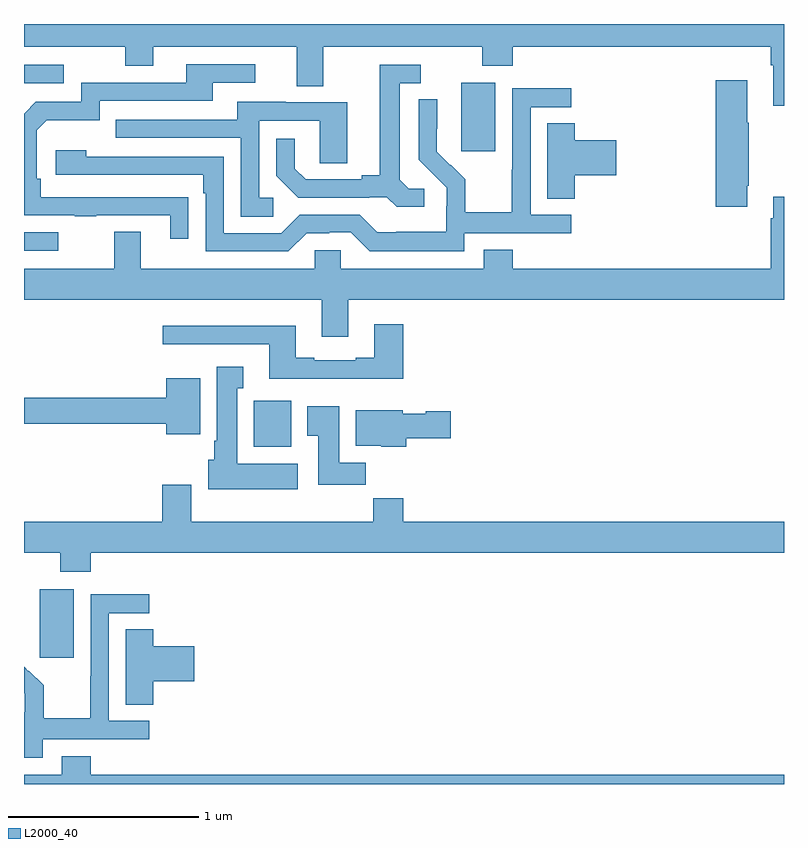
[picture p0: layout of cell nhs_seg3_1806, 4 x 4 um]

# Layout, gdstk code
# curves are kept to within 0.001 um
import gdstk
lib = gdstk.Library(unit=1e-6, precision=1e-09)
def R(c, l, rs):  # rectangles x0, y0, x1, y1
    for r in rs: c.add(gdstk.rectangle(r[:2], r[2:], *l))
def P(c, l, *ps):  # polygons
    for p in ps: c.add(gdstk.Polygon(p, *l))
L2000_40 = (2000, 40)

nhs_seg3_1806 = lib.new_cell('nhs_seg3_1806')
R(nhs_seg3_1806, L2000_40, [(205.082,667.065,205.261,667.426), (206.21,668.174,206.407,668.416), (205,669.207,205.18,669.303), (207.302,669.729,207.481,670.09), (205,670.089,205.21,670.185)])
P(nhs_seg3_1806, L2000_40, [(209,670.4),(205,670.4),(205,670.28),(205.534,670.28),(205.534,670.181),(205.681,670.181),(205.681,670.28),(206.435,670.28),(206.435,670.072),(206.575,670.072),(206.575,670.28),(207.412,670.28),(207.412,670.181),(207.572,670.181),(207.572,670.28),(208.931,670.28),(208.931,670.184),(208.943,670.184),(208.943,669.969),(209,669.969)],
  [(205.865,669.488),(205.088,669.489),(205.088,669.586),(205.068,669.586),(205.068,669.84),(205.121,669.893),(205.398,669.893),(205.398,669.996),(205.993,669.996),(205.993,670.092),(206.218,670.092),(206.218,670.188),(205.853,670.188),(205.853,670.092),(205.302,670.092),(205.302,669.99),(205.062,669.99),(205,669.928),(205,669.393),(205.267,669.393),(205.267,669.388),(205.379,669.388),(205.379,669.393),(205.769,669.393),(205.769,669.27),(205.865,669.27)],
  [(207.106,669.534),(207.024,669.534),(206.977,669.581),(206.977,670.089),(207.088,670.089),(207.088,670.185),(206.873,670.185),(206.873,669.605),(206.777,669.605),(206.777,669.582),(206.482,669.582),(206.425,669.639),(206.425,669.796),(206.328,669.796),(206.328,669.602),(206.444,669.486),(206.816,669.486),(206.816,669.489),(206.91,669.489),(206.962,669.437),(207.106,669.437)],
  [(208.807,669.55),(208.815,669.55),(208.815,669.881),(208.807,669.881),(208.807,670.105),(208.64,670.105),(208.64,669.438),(208.807,669.438)],
  [(207.318,669.3),(207.88,669.3),(207.88,669.396),(207.666,669.396),(207.666,669.963),(207.88,669.963),(207.88,670.062),(207.57,670.062),(207.57,669.632),(207.568,669.632),(207.568,669.409),(207.323,669.409),(207.323,669.583),(207.246,669.66),(207.243,669.657),(207.173,669.728),(207.174,670.004),(207.078,670.004),(207.078,669.686),(207.224,669.538),(207.224,669.441),(207.222,669.441),(207.222,669.307),(206.959,669.307),(206.959,669.303),(206.859,669.303),(206.766,669.396),(206.451,669.396),(206.355,669.3),(206.052,669.3),(206.052,669.702),(205.328,669.702),(205.328,669.736),(205.167,669.736),(205.167,669.606),(205.943,669.606),(205.943,669.509),(205.956,669.509),(205.956,669.204),(206.391,669.204),(206.487,669.3),(206.606,669.3),(206.606,669.303),(206.721,669.303),(206.821,669.203),(207.318,669.203)],
  [(206.311,669.486),(206.238,669.486),(206.238,669.891),(206.556,669.891),(206.556,669.667),(206.701,669.667),(206.701,669.987),(206.377,669.987),(206.377,669.991),(206.123,669.991),(206.123,669.897),(205.483,669.897),(205.483,669.801),(206.142,669.801),(206.142,669.385),(206.311,669.385)],
  [(207.899,669.605),(208.117,669.605),(208.117,669.788),(207.899,669.788),(207.899,669.878),(207.755,669.878),(207.755,669.481),(207.899,669.481)],
  [(206.707,668.948),(209,668.948),(209,669.49),(208.943,669.49),(208.943,669.377),(208.931,669.377),(208.931,669.112),(207.572,669.112),(207.572,669.211),(207.419,669.211),(207.419,669.112),(206.667,669.112),(206.667,669.21),(206.529,669.21),(206.529,669.112),(205.615,669.112),(205.615,669.307),(205.475,669.307),(205.475,669.112),(205,669.112),(205,668.948),(206.567,668.948),(206.567,668.754),(206.707,668.754)],
  [(206.996,668.821),(206.843,668.821),(206.843,668.644),(206.747,668.644),(206.747,668.631),(206.527,668.631),(206.527,668.644),(206.431,668.644),(206.431,668.812),(205.731,668.812),(205.731,668.715),(206.291,668.715),(206.291,668.534),(206.996,668.534)],
  [(206.44,668.086),(206.122,668.086),(206.122,668.483),(206.155,668.483),(206.155,668.596),(206.015,668.596),(206.015,668.206),(206,668.206),(206,668.106),(205.97,668.106),(205.97,667.952),(206.44,667.952)],
  [(205.927,668.536),(205.748,668.536),(205.748,668.432),(205,668.432),(205,668.296),(205.748,668.296),(205.748,668.24),(205.927,668.24)],
  [(206.798,668.092),(206.659,668.092),(206.659,668.389),(206.492,668.389),(206.492,668.233),(206.549,668.233),(206.549,667.974),(206.798,667.974)],
  [(207.011,668.221),(207.247,668.221),(207.247,668.363),(207.114,668.363),(207.114,668.35),(206.994,668.35),(206.994,668.368),(206.747,668.368),(206.747,668.18),(206.88,668.18),(206.88,668.174),(207.011,668.174)],
  [(209,667.78),(206.996,667.78),(206.996,667.904),(206.839,667.904),(206.839,667.78),(205.879,667.78),(205.879,667.975),(205.727,667.975),(205.727,667.78),(205,667.78),(205,667.616),(205.192,667.616),(205.192,667.517),(205.352,667.517),(205.352,667.616),(209,667.616)],
  [(205.098,666.636),(205.66,666.636),(205.66,666.732),(205.446,666.732),(205.446,667.299),(205.66,667.299),(205.66,667.398),(205.35,667.398),(205.35,666.968),(205.348,666.968),(205.348,666.745),(205.103,666.745),(205.103,666.919),(205.026,666.996),(205.023,666.993),(205,667.016),(205,666.878),(205.004,666.874),(205.004,666.777),(205.002,666.777),(205.002,666.643),(205,666.643),(205,666.539),(205.098,666.539)],
  [(205.679,666.941),(205.897,666.941),(205.897,667.124),(205.679,667.124),(205.679,667.214),(205.535,667.214),(205.535,666.817),(205.679,666.817)],
  [(209,666.448),(205.352,666.448),(205.352,666.547),(205.199,666.547),(205.199,666.448),(205,666.448),(205,666.4),(209,666.4)])

lib.write_gds('nhs_seg3_1806.gds')
